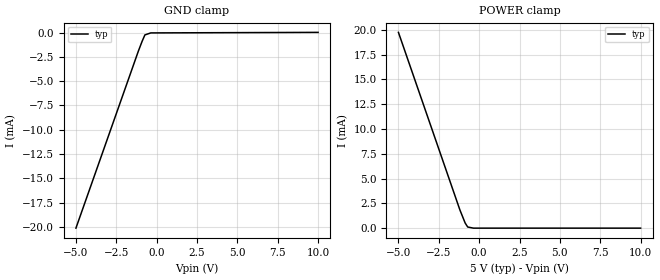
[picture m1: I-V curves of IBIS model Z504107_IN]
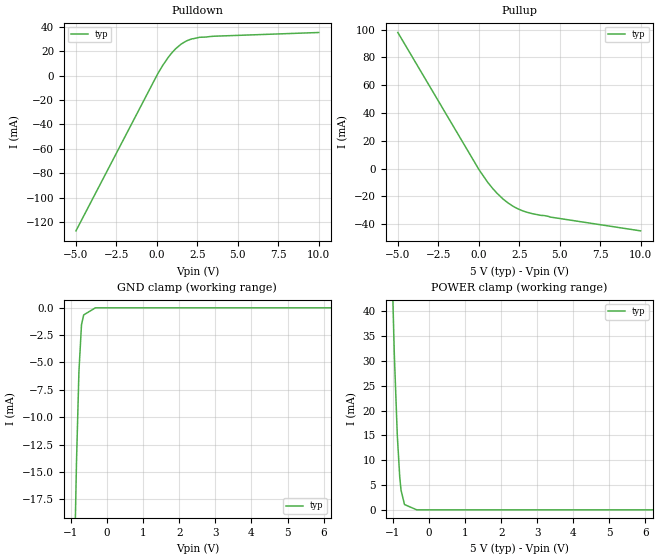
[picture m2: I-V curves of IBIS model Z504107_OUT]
| YOU ARE ONLY AUTHORIZED TO USE THIS SOFTWARE
| ACCORDING TO LICENSOR'S LICENSE RESTRICTIONS.
[IBIS Ver] 3.1
[File Name] mc54hc4514j.ibs
[File Rev] 2.0
[Source] Measured and created by ICX Technology
[Date] Friday 7/14/00 9:08:07 AM
[Copyright]
| (C) COPYRIGHT 1993-2000
| MENTOR GRAPHICS CORPORATION
| ICX STANDARD LIBRARY, ICX PROJECT MODELING,
| ICX CUSTOM MODELING, ICX VENDOR MODEL
| ALL RIGHTS RESERVED.
| THE FOLLOWING ARE TRADEMARKS OR SERVICE MARKS OF
| MENTOR GRAPHICS CORPORATION:ICX (R), ICX STANDARD
| LIBRARY(R), ICX PROJECT MODELING(R), ICX CUSTOM
| MODELING(R), qualityIBIS(TM), MODELVIEWER(TM),
| AND MODELEDITOR(TM)
| ALL COPIES OF SOFTWARE, INCLUDING BUT NOT LIMITED TO
| ANY MODIFICATIONS, ENHANCEMENTS OR DERIVATIVE WORKS,
| MUST CONTAIN ALL MENTOR GRAPHICS CORPORATION'S
| NOTICES AND LEGENDS, INCLUDING THOSE EMBEDDED IN
| SOFTWARE AND THOSE AFFIXED TO SOFTWARE MEDIUM
| AND CONTAINER, AS RECEIVED FROM MENTOR GRAPHICS
| CORPORATION.
|  ZAP Model Builder 2.7
[Component] MC54HC4514J
[Manufacturer] OnSemiconductor
[Package]
| variable   typ   min   max
R_pkg  .22ohms NA NA
L_pkg  6.927nH NA NA
C_pkg  2.443pF NA NA
[Pin] signal_name  model_name  R_pin  L_pin C_pin
1 LE Z504107_IN .24 12.76n 3.675p
2 A Z504107_IN .232 9.76n 3.182p
3 B Z504107_IN .224 7.26n 2.689p
4 Y7 Z504107_OUT .216 5.26n 2.196p
5 Y6 Z504107_OUT .208 3.76n 1.703p
6 Y5 Z504107_OUT .2 2.76n 1.21p
7 Y4 Z504107_OUT .2 2.76n 1.21p
8 Y3 Z504107_OUT .208 3.76n 1.703p
9 Y2 Z504107_OUT .216 5.26n 2.196p
10 Y1 Z504107_OUT .224 7.26n 2.689p
11 Y0 Z504107_OUT .232 9.76n 3.182p
12 GROUND GND .24 12.76n 3.675p
13 Y13 Z504107_OUT .24 12.76n 3.675p
14 Y12 Z504107_OUT .232 9.76n 3.182p
15 Y15 Z504107_OUT .224 7.26n 2.689p
16 Y14 Z504107_OUT .216 5.26n 2.196p
17 Y9 Z504107_OUT .208 3.76n 1.703p
18 Y8 Z504107_OUT .2 2.76n 1.21p
19 Y11 Z504107_OUT .2 2.76n 1.21p
20 Y10 Z504107_OUT .208 3.76n 1.703p
21 C Z504107_IN .216 5.26n 2.196p
22 D Z504107_IN .224 7.26n 2.689p
23 _G Z504107_IN .232 9.76n 3.182p
24 VCC POWER .24 12.76n 3.675p
| Models and submodels in the file (2): Z504107_IN (Input), Z504107_OUT (Output)
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| (C) COPYRIGHT 1993-2000
| MENTOR GRAPHICS CORPORATION
| ICX STANDARD LIBRARY, ICX PROJECT MODELING,
| ICX CUSTOM MODELING, ICX VENDOR MODEL
| ALL RIGHTS RESERVED.
| THE FOLLOWING ARE TRADEMARKS OR SERVICE MARKS OF
| MENTOR GRAPHICS CORPORATION:ICX (R), ICX STANDARD
| LIBRARY(R), ICX PROJECT MODELING(R), ICX CUSTOM
| MODELING(R), qualityIBIS(TM), MODELVIEWER(TM),
| AND MODELEDITOR(TM)
| ALL COPIES OF SOFTWARE, INCLUDING BUT NOT LIMITED TO
| ANY MODIFICATIONS, ENHANCEMENTS OR DERIVATIVE WORKS,
| MUST CONTAIN ALL MENTOR GRAPHICS CORPORATION'S
| NOTICES AND LEGENDS, INCLUDING THOSE EMBEDDED IN
| SOFTWARE AND THOSE AFFIXED TO SOFTWARE MEDIUM
| AND CONTAINER, AS RECEIVED FROM MENTOR GRAPHICS
| CORPORATION.
| Model Application Version 1.89 2/18/99.
[Model] Z504107_IN
Model_type Input
Vinl = 1.000V
Vinh = 3.500V
C_comp 4.000pF NA NA
| variable typ   min   max
[Voltage Range] 5.000V NA NA
[GND Clamp Reference] 0.000V NA NA
[POWER Clamp Reference] 5.000V NA NA
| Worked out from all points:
|   GND clamp passes 1 mA (typ) near -0.92 V on its own axis
[GND Clamp]
-5V       -20.13mA   NA         NA
-1.132V   -1.899mA   NA         NA
-898.4mV  -885.1uA   NA         NA
-728.1mV  -236.3uA   NA         NA
-364.1mV  -29.67uA   NA         NA
10V       26.09uA    NA         NA
[POWER Clamp]
-5V       19.75mA    NA         NA
-1.195V   1.847mA    NA         NA
-867mV    516.6uA    NA         NA
-710mV    114.7uA    NA         NA
-355mV    0A         NA         NA
10V       0A         NA         NA
| (C) COPYRIGHT 1993-2000
| MENTOR GRAPHICS CORPORATION
| ICX STANDARD LIBRARY, ICX PROJECT MODELING,
| ICX CUSTOM MODELING, ICX VENDOR MODEL
| ALL RIGHTS RESERVED.
| THE FOLLOWING ARE TRADEMARKS OR SERVICE MARKS OF
| MENTOR GRAPHICS CORPORATION:ICX (R), ICX STANDARD
| LIBRARY(R), ICX PROJECT MODELING(R), ICX CUSTOM
| MODELING(R), qualityIBIS(TM), MODELVIEWER(TM),
| AND MODELEDITOR(TM)
| ALL COPIES OF SOFTWARE, INCLUDING BUT NOT LIMITED TO
| ANY MODIFICATIONS, ENHANCEMENTS OR DERIVATIVE WORKS,
| MUST CONTAIN ALL MENTOR GRAPHICS CORPORATION'S
| NOTICES AND LEGENDS, INCLUDING THOSE EMBEDDED IN
| SOFTWARE AND THOSE AFFIXED TO SOFTWARE MEDIUM
| AND CONTAINER, AS RECEIVED FROM MENTOR GRAPHICS
| CORPORATION.
| Model Application Version 1.89 2/18/99.
[Model] Z504107_OUT
Model_type Output
Vref=0.000V
Rref=500.0Mohms
Cref=50.00pF
Vmeas=2.500V
C_comp 8.000pF NA NA
| variable typ   min   max
[Voltage Range] 5.000V NA NA
[POWER Clamp Reference] 5.000V NA NA
[Pullup Reference] 5.000V NA NA
[Pulldown Reference] 0.000V NA NA
[GND Clamp Reference] 0.000V NA NA
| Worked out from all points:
|   slope of the pulldown table from 0 to 0.75 V, typ, clamps not added: 48.1 ohm
|   slope of the pullup table from 0 to 0.75 V, typ, clamps not added: 61.2 ohm
|   GND clamp passes 1 mA (typ) near -0.67 V on its own axis
[GND Clamp]
-5V       -710.5mA   NA         NA
-849.6mV  -14.21mA   NA         NA
-781.3mV  -5.832mA   NA         NA
-710mV    -1.538mA   NA         NA
-649.4mV  -651.1uA   NA         NA
-324.7mV  0A         NA         NA
10V       0A         NA         NA
[Pulldown]
-5V       -127.2mA   NA         NA
46.54mV   1.322mA    NA         NA
708.1mV   15.04mA    NA         NA
1.162V    22.02mA    NA         NA
1.494V    25.75mA    NA         NA
2.051V    29.61mA    NA         NA
2.628V    31.37mA    NA         NA
10V       35.31mA    NA         NA
[Pullup]
-5V       97.93mA    NA         NA
20mV      -914.1uA   NA         NA
552mV     -9.911mA   NA         NA
864mV     -14.42mA   NA         NA
1.494V    -21.9mA    NA         NA
2.246V    -28.01mA   NA         NA
2.666V    -30.27mA   NA         NA
3.301V    -32.49mA   NA         NA
10V       -44.9mA    NA         NA
[POWER Clamp]
-5V       1.371A     NA         NA
-1.113V   72.85mA    NA         NA
-961mV    31.32mA    NA         NA
-879mV    15.11mA    NA         NA
-811mV    6.621mA    NA         NA
-775mV    3.96mA     NA         NA
-679mV    1.07mA     NA         NA
-339.5mV  0A         NA         NA
10V       0A         NA         NA
[Ramp]
| variable typ min max
dV/dt_r 2.704/3.800n NA NA
dV/dt_f 2.704/3.509n NA NA
R_load = 500.0Ohms
